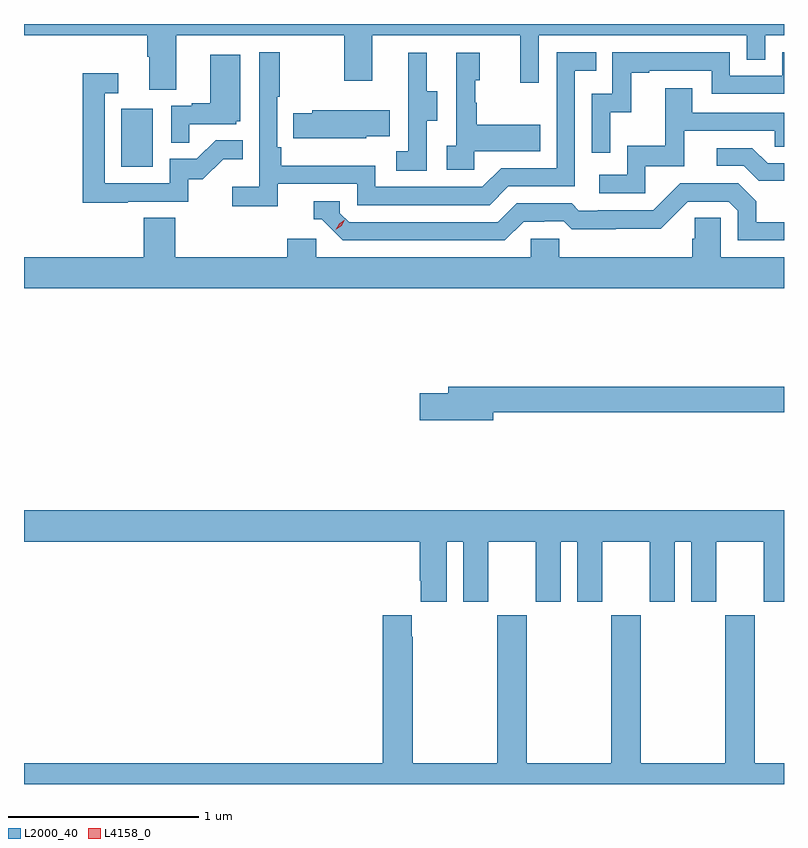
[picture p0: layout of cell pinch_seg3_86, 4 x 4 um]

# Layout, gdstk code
import gdstk
lib = gdstk.Library(unit=1e-6, precision=1e-09)
def R(c, l, rs):  # rectangles x0, y0, x1, y1
    for r in rs: c.add(gdstk.rectangle(r[:2], r[2:], *l))
def P(c, l, *ps):  # polygons
    for p in ps: c.add(gdstk.Polygon(p, *l))
L2000_40 = (2000, 40)
L4158_0 = (4158, 0)

pinch_seg3_86 = lib.new_cell('pinch_seg3_86')
R(pinch_seg3_86, L2000_40, [(1045.772,722.868,1045.936,723.175)])
P(pinch_seg3_86, L2000_40, [(1046.059,723.56),(1046.944,723.56),(1046.944,723.321),(1047.091,723.321),(1047.091,723.56),(1047.872,723.56),(1047.872,723.312),(1047.969,723.312),(1047.969,723.56),(1049.064,723.56),(1049.064,723.433),(1049.16,723.433),(1049.16,723.56),(1049.259,723.56),(1049.259,723.62),(1045.259,723.62),(1045.259,723.56),(1045.907,723.56),(1045.907,723.448),(1045.919,723.448),(1045.919,723.274),(1046.059,723.274)],
  [(1046.594,722.778),(1047.012,722.778),(1047.012,722.667),(1047.709,722.667),(1047.808,722.766),(1048.158,722.766),(1048.158,723.375),(1048.271,723.375),(1048.271,723.471),(1048.062,723.471),(1048.062,722.862),(1047.771,722.862),(1047.672,722.763),(1047.108,722.763),(1047.108,722.875),(1046.612,722.875),(1046.612,722.971),(1046.592,722.971),(1046.592,723.238),(1046.605,723.238),(1046.605,723.472),(1046.496,723.472),(1046.496,722.764),(1046.355,722.764),(1046.355,722.662),(1046.594,722.662)],
  [(1048.344,723.155),(1048.454,723.155),(1048.454,723.363),(1048.549,723.363),(1048.549,723.375),(1048.878,723.375),(1048.878,723.252),(1049.259,723.252),(1049.259,723.471),(1049.25,723.471),(1049.25,723.348),(1048.974,723.348),(1048.974,723.471),(1048.356,723.471),(1048.356,723.252),(1048.248,723.252),(1048.248,722.943),(1048.344,722.943)],
  [(1047.378,723.112),(1047.433,723.112),(1047.433,723.267),(1047.379,723.267),(1047.379,723.469),(1047.281,723.469),(1047.281,723.255),(1047.282,723.255),(1047.282,722.951),(1047.219,722.951),(1047.219,722.848),(1047.378,722.848)],
  [(1047.63,722.951),(1047.977,722.951),(1047.977,723.091),(1047.643,723.091),(1047.643,723.206),(1047.633,723.206),(1047.633,723.324),(1047.658,723.324),(1047.658,723.469),(1047.534,723.469),(1047.534,722.978),(1047.483,722.978),(1047.483,722.853),(1047.63,722.853)],
  [(1046.129,723.093),(1046.376,723.093),(1046.376,723.108),(1046.398,723.108),(1046.398,723.457),(1046.24,723.457),(1046.24,723.202),(1046.141,723.202),(1046.141,723.189),(1046.034,723.189),(1046.034,722.995),(1046.129,722.995)],
  [(1045.805,722.685),(1046.124,722.685),(1046.124,722.802),(1046.2,722.802),(1046.307,722.909),(1046.411,722.909),(1046.411,723.008),(1046.267,723.008),(1046.169,722.91),(1046.025,722.91),(1046.025,722.781),(1045.683,722.781),(1045.683,723.255),(1045.756,723.255),(1045.756,723.361),(1045.567,723.361),(1045.567,722.68),(1045.805,722.68)],
  [(1048.53,722.871),(1048.735,722.871),(1048.735,723.057),(1049.209,723.057),(1049.209,722.973),(1049.259,722.973),(1049.259,723.153),(1048.777,723.153),(1048.777,723.283),(1048.633,723.283),(1048.633,722.98),(1048.434,722.98),(1048.434,722.826),(1048.287,722.826),(1048.287,722.73),(1048.53,722.73)],
  [(1047.06,723.029),(1047.185,723.029),(1047.185,723.166),(1046.775,723.166),(1046.775,723.15),(1046.677,723.15),(1046.677,723.02),(1047.06,723.02)],
  [(1049.259,722.886),(1049.173,722.886),(1049.092,722.967),(1048.905,722.967),(1048.905,722.874),(1049.046,722.874),(1049.126,722.794),(1049.259,722.794)],
  [(1047.889,722.58),(1047.996,722.58),(1047.996,722.583),(1048.099,722.583),(1048.141,722.541),(1048.374,722.541),(1048.374,722.543),(1048.61,722.543),(1048.752,722.685),(1048.968,722.685),(1049.016,722.637),(1049.016,722.481),(1049.259,722.481),(1049.259,722.577),(1049.113,722.577),(1049.113,722.687),(1049.019,722.781),(1048.713,722.781),(1048.572,722.64),(1048.279,722.64),(1048.279,722.637),(1048.18,722.637),(1048.141,722.676),(1047.852,722.676),(1047.753,722.577),(1046.97,722.577),(1046.922,722.625),(1046.922,722.688),(1046.783,722.688),(1046.783,722.592),(1046.826,722.592),(1046.937,722.481),(1047.79,722.481)],
  [(1049.259,722.392),(1048.926,722.392),(1048.926,722.6),(1048.789,722.6),(1048.789,722.49),(1048.775,722.49),(1048.775,722.392),(1048.077,722.392),(1048.077,722.49),(1047.927,722.49),(1047.927,722.392),(1046.796,722.392),(1046.796,722.49),(1046.645,722.49),(1046.645,722.392),(1046.054,722.392),(1046.054,722.6),(1045.889,722.6),(1045.889,722.392),(1045.259,722.392),(1045.259,722.228),(1049.259,722.228)],
  [(1047.73,721.576),(1049.259,721.576),(1049.259,721.712),(1047.491,721.712),(1047.491,721.676),(1047.342,721.676),(1047.342,721.534),(1047.73,721.534)],
  [(1047.484,720.896),(1047.572,720.896),(1047.572,720.579),(1047.703,720.579),(1047.703,720.896),(1047.953,720.896),(1047.953,720.579),(1048.084,720.579),(1048.084,720.896),(1048.172,720.896),(1048.172,720.579),(1048.303,720.579),(1048.303,720.896),(1048.553,720.896),(1048.553,720.579),(1048.684,720.579),(1048.684,720.896),(1048.772,720.896),(1048.772,720.579),(1048.903,720.579),(1048.903,720.896),(1049.153,720.896),(1049.153,720.579),(1049.259,720.579),(1049.259,721.06),(1045.259,721.06),(1045.259,720.896),(1047.341,720.896),(1047.341,720.691),(1047.347,720.691),(1047.347,720.579),(1047.484,720.579)],
  [(1049.259,719.728),(1049.106,719.728),(1049.106,720.508),(1048.951,720.508),(1048.951,719.728),(1048.506,719.728),(1048.506,720.508),(1048.351,720.508),(1048.351,719.728),(1047.906,719.728),(1047.906,720.508),(1047.751,720.508),(1047.751,719.728),(1047.305,719.728),(1047.305,720.395),(1047.301,720.395),(1047.301,720.508),(1047.146,720.508),(1047.146,719.728),(1045.259,719.728),(1045.259,719.62),(1049.259,719.62)])
P(pinch_seg3_86, L4158_0, [(1046.901,722.537),(1046.901,722.537),(1046.917,722.57),(1046.947,722.59),(1046.948,722.59),(1046.948,722.589),(1046.932,722.557),(1046.901,722.537)])

lib.write_gds('pinch_seg3_86.gds')
